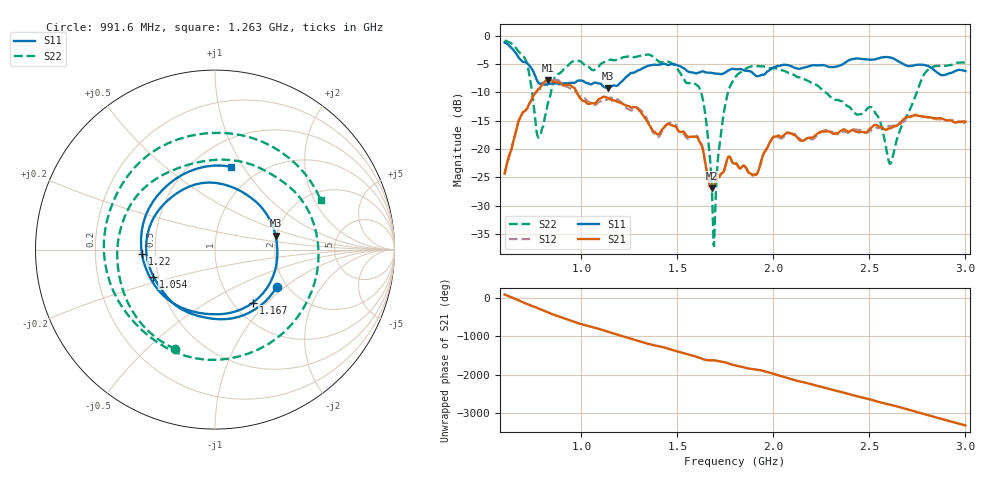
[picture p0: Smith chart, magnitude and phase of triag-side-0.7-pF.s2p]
#  HZ  S  RI  R  50.00
! Rohde & Schwarz ZVB8 2Ports - Version 2.81 - 1145.1010k08 SN: 100113
! Date: 2016-03-12 02:41:09
! Measurements: S11 S21 S12 S22
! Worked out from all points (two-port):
!   1000 points, 600 MHz to 3 GHz, reference 50 ohm
!   highest |S21| = -7.82 dB at 823.4 MHz (marker M1); lowest = -26.9 dB at 1.679 GHz (marker M2)
!   |S21| within 3 dB of the highest: 746.8 MHz to 988.6 MHz (241.8 MHz wide, 27.9 % of centre); 1.111 GHz to 1.126 GHz (14.88 MHz wide, 1.33 % of centre)
!   lowest |S11| = -9.2 dB at 1.138 GHz (marker M3), VSWR 2.06, Z = 98.8 + j17.5 ohm
!   |S11| at or under -10 dB: nowhere
!   |S22| runs from -37.1 to -0.8 dB; largest |S21 - S12| = 0.026
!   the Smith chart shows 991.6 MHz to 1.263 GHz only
!   S11 on the Smith chart (normalised r, x): 991.6 MHz: 1.77, -0.88; 1.054 GHz: 0.47, -0.16; 1.167 GHz: 1.23, -0.83; 1.22 GHz: 0.42, -0.02; 1.263 GHz: 0.75, +0.88
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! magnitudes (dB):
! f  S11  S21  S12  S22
! 600 MHz  -1.2  -24.3  -24.5  -0.8
! 710.5 MHz  -4.7  -13.1  -13.1  -4.3
! 775.4 MHz  -8.3  -9.4  -9.5  -17.9
! 823.4 MHz  -8.6  -7.8  -8.0  -12.2
! 991.6 MHz  -7.9  -11.0  -10.7  -4.5
! 1.001 GHz  -7.9  -11.3  -10.8  -4.7
! 1.054 GHz  -8.5  -11.9  -11.9  -6.0
! 1.138 GHz  -9.2  -11.0  -11.2  -4.4
! 1.167 GHz  -8.8  -11.4  -10.9  -4.3
! 1.22 GHz  -7.8  -12.1  -12.3  -3.8
! 1.263 GHz  -6.6  -12.7  -13.2  -3.7
! 1.4 GHz  -5.2  -17.4  -17.9  -4.5
! 1.619 GHz  -6.5  -18.9  -18.6  -9.5
! 1.679 GHz  -6.6  -26.9  -27.3  -26.3
! 1.693 GHz  -6.7  -26.1  -26.3  -34.7
! 1.741 GHz  -6.6  -24.0  -23.8  -13.7
! 1.801 GHz  -5.9  -22.5  -22.6  -7.3
! 2.2 GHz  -5.2  -18.0  -18.3  -8.3
! 2.515 GHz  -4.2  -16.1  -16.6  -12.7
! 2.601 GHz  -3.8  -16.4  -16.0  -22.2
! 2.793 GHz  -5.2  -14.3  -14.3  -6.4
! 3 GHz  -6.2  -15.2  -15.4  -4.8
